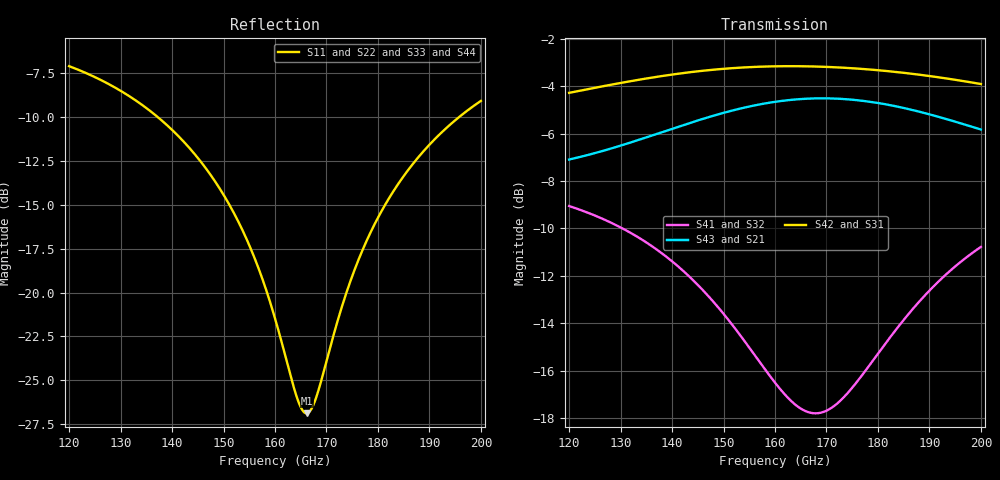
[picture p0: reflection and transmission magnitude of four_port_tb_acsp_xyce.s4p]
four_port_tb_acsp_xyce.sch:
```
v {xschem version=3.4.8RC file_version=1.3}
G {}
K {}
V {}
S {}
F {}
E {}
T {SPDX-FileCopyrightText: 2026 Simon Dorrer
SPDX-License-Identifier: Apache-2.0
} 1820 -140 0 0 0.4 0.4 {}
T {Xyce Testbench for AC S-parameter analysis - Four-Port} 530 -1710 0 0 1 1 {}
N 1440 -620 1440 -580 {lab=v3}
N 1360 -620 1440 -620 {lab=v3}
N 1440 -520 1440 -480 {lab=GND}
N 1440 -620 1480 -620 {lab=v3}
N 1640 -520 1640 -480 {lab=GND}
N 1640 -700 1680 -700 {lab=v4}
N 1640 -700 1640 -580 {lab=v4}
N 1360 -700 1640 -700 {lab=v4}
N 1080 -620 1160 -620 {lab=v2}
N 1080 -520 1080 -480 {lab=GND}
N 1080 -620 1080 -580 {lab=v2}
N 1040 -620 1080 -620 {lab=v2}
N 880 -520 880 -480 {lab=GND}
N 840 -700 880 -700 {lab=v1}
N 880 -700 880 -580 {lab=v1}
N 880 -700 1160 -700 {lab=v1}
C {devices/code_shown.sym} 180 -1370 0 0 {name=XYCE
only_toplevel=true
lock=false
value="
.include ../../../netlist/xyce/four_port.cir
.include ../sim_range.cir

* User Constants
* f_min / f_max come from ../sim_range.cir (.param),
* auto-synced by snp2le to the band it fitted.
* edit that file for a standalone run.

* Xschem's ground symbol netlists node GND, which Xyce takes as ground only with this.
.PREPROCESS REPLACEGROUND TRUE

* AC S-Parameter Analysis
* Xyce writes S-parameters only as a Touchstone file, which snp2le imports.
.AC LIN 1001 \{f_min\} \{f_max\}
.LIN SPARCALC=1 FORMAT=TOUCHSTONE2 DATAFORMAT=RI FILE=../plot_simulations/data/@schname\\\\.s4p
"}
C {title-3.sym} 0 0 0 0 {name=l2 author="Simon Dorrer" rev=1.0 lock=true}
C {lab_pin.sym} 1480 -620 0 1 {name=p3 sig_type=std_logic lab=v3}
C {devices/lab_pin.sym} 1040 -620 0 0 {name=l19 sig_type=std_logic lab=v2
}
C {devices/gnd.sym} 1080 -480 0 0 {name=l39 lab=GND}
C {devices/vsource.sym} 1080 -550 0 1 {name=P2 value="port=2 z0=50"
}
C {devices/gnd.sym} 1440 -480 0 0 {name=l3 lab=GND}
C {devices/launcher.sym} 1860 -1380 0 0 {name=h2
descr="Simulate Xyce"
tclcommand="
# Setup the default simulation commands if not already set up
# for example by already launched simulations.
set_sim_defaults

# change the simulator to be used (#3 in spice category is Xyce batch)
set sim(spice,default) 3
xschem set netlist_type spice

# run netlist and simulation
xschem netlist
simulate
"}
C {devices/vsource.sym} 1440 -550 0 0 {name=P3 value="port=3 z0=50"
}
C {lab_pin.sym} 1680 -700 0 1 {name=p1 sig_type=std_logic lab=v4}
C {devices/gnd.sym} 1640 -480 0 0 {name=l1 lab=GND}
C {devices/vsource.sym} 1640 -550 0 0 {name=P4 value="port=4 z0=50"
}
C {four_port.sym} 1260 -660 0 0 {name=x1}
C {lab_pin.sym} 840 -700 0 0 {name=p2 sig_type=std_logic lab=v1}
C {devices/gnd.sym} 880 -480 0 1 {name=l4 lab=GND}
C {devices/vsource.sym} 880 -550 0 1 {name=P1 value="port=1 z0=50"
}
```
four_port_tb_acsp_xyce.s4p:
[Version] 2.0
# Hz S RI R 50
[Number of Ports] 4
[Reference] 50 50 50 50
!  Freq  ReS11  ImS11  ReS12  ImS12  ReS13  ImS13  ReS14  ImS14  ReS21  ImS21  ReS22  ImS22  ReS23  ImS23  ReS24  ImS24  ReS31  ImS31  ReS32  ImS32  ReS33  ImS33  ReS34  ImS34  ReS41  ImS41  ReS42  ImS42  ReS43  ImS43  ReS44  ImS44
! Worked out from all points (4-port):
!   1001 points, 120 GHz to 200 GHz, reference 50 ohm
!   strongest paths, dB at 120 GHz, 140 GHz, 160 GHz, 180 GHz, 200 GHz:
!     S42: -4.3, -3.5, -3.2, -3.3, -3.9
!     S31: -4.3, -3.5, -3.2, -3.3, -3.9
!     S43: -7.1, -5.8, -4.7, -4.7, -5.8
!     S21: -7.1, -5.8, -4.7, -4.7, -5.8
!     S41: -9.1, -11.4, -16.5, -15.3, -10.8
!     S32: -9.0, -11.4, -16.5, -15.3, -10.8
!   lowest |S11| = -26.9 dB at 166.2 GHz (marker M1), VSWR 1.09, Z = 54.7 - j0.664 ohm
!   |S11| at or under -10 dB: 137.3 GHz to 195.7 GHz (58.47 GHz wide, 35.1 % of centre)
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[Number of Frequencies] 3
[Network Data]
1.2e11  -0.2644 0.3544  0.211 -0.3883  -0.3303 -0.5141  -0.0314 -0.3512
        0.211 -0.3883  -0.2646 0.354  -0.0313 -0.3515  -0.3303 -0.5141
        -0.3303 -0.5141  -0.0313 -0.3515  -0.2647 0.3538  0.211 -0.3884
        -0.0314 -0.3512  -0.3303 -0.5141  0.211 -0.3884  -0.2645 0.3542
1.6616e11  0.0448 -0.00606  -0.0717 -0.5896  -0.6914 0.072  -0.0224 -0.128
           -0.0717 -0.5896  0.0446 -0.00659  -0.0228 -0.128  -0.6913 0.0721
           -0.6914 0.072  -0.0228 -0.128  0.0444 -0.00644  -0.0717 -0.5896
           -0.0224 -0.128  -0.6913 0.0721  -0.0717 -0.5896  0.0446 -0.00621
2e11  -0.2045 -0.2865  -0.3289 -0.3916  -0.3848 0.5088  0.0455 -0.2855
      -0.3289 -0.3916  -0.2048 -0.287  0.0454 -0.2851  -0.3847 0.5088
      -0.3848 0.5088  0.0454 -0.2851  -0.2047 -0.2868  -0.3289 -0.3916
      0.0455 -0.2855  -0.3847 0.5088  -0.3289 -0.3916  -0.2048 -0.2865
[End]
